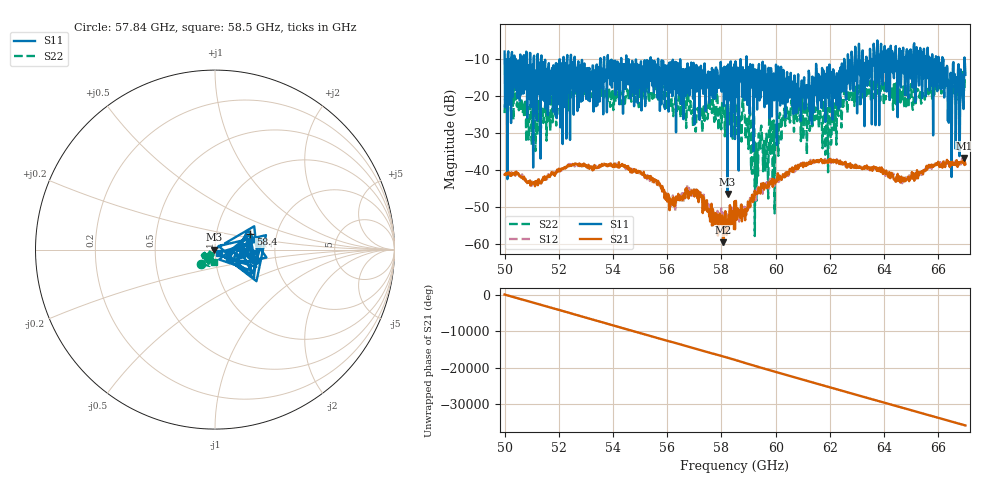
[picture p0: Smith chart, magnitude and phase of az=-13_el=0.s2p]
!Created with skrf (http://scikit-rf.org).
# GHz S RI R 50.0
!freq ReS11 ImS11 ReS21 ImS21 ReS12 ImS12 ReS22 ImS22
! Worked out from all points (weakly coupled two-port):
!   1001 points, 50 GHz to 67 GHz, reference 50 ohm
!   highest |S21| = -36.77 dB at 66.95 GHz (marker M1); lowest = -59.7 dB at 58.08 GHz (marker M2)
!   lowest |S11| = -46.5 dB at 58.23 GHz (marker M3), VSWR 1.01, Z = 49.5 - j0.0273 ohm
!   |S11| at or under -10 dB: 52.59 GHz to 53.53 GHz (948 MHz wide, 1.79 % of centre); 55.66 GHz to 58.92 GHz (3.262 GHz wide, 5.69 % of centre); 58.93 GHz to 62.53 GHz (3.599 GHz wide, 5.93 % of centre) (the widest 3 of 62)
!   |S22| runs from -58.0 to -13.3 dB; largest |S21 - S12| = 0.0026
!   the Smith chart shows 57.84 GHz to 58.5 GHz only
!   S11 on the Smith chart (normalised r, x): 57.84 GHz: 1.55, -0.18; 58.4 GHz: 1.46, +0.26; 58.5 GHz: 1.04, -0.04
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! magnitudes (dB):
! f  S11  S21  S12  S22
! 50 GHz  -8.0  -41.3  -40.9  -24.6
! 50.15 GHz  -22.4  -41.2  -41.3  -20.8
! 51.07 GHz  -9.6  -43.6  -43.5  -26.3
! 52.84 GHz  -11.5  -38.8  -39.1  -20.0
! 55.68 GHz  -13.3  -43.4  -44.2  -21.0
! 57.84 GHz  -12.9  -52.1  -53.8  -19.1
! 58.08 GHz  -14.6  -59.7  -60.7  -25.5
! 58.23 GHz  -46.5  -56.1  -53.1  -23.1
! 58.4 GHz  -13.4  -52.6  -53.2  -25.7
! 58.5 GHz  -31.7  -56.1  -51.2  -23.5
! 59.11 GHz  -12.8  -47.9  -47.7  -36.6
! 59.32 GHz  -23.7  -46.1  -45.1  -34.1
! 59.44 GHz  -13.8  -46.4  -46.2  -34.2
! 60.34 GHz  -15.2  -41.6  -41.9  -25.3
! 61.34 GHz  -27.6  -38.0  -37.9  -27.0
! 62 GHz  -12.4  -37.8  -37.7  -23.8
! 62.61 GHz  -16.6  -39.4  -38.3  -19.6
! 64.18 GHz  -11.7  -41.9  -41.3  -17.8
! 66.1 GHz  -14.5  -39.2  -38.8  -18.4
! 66.44 GHz  -18.6  -37.9  -38.3  -16.3
! 66.95 GHz  -15.8  -36.8  -38.4  -18.7
! 67 GHz  -14.2  -38.5  -38.2  -14.2
